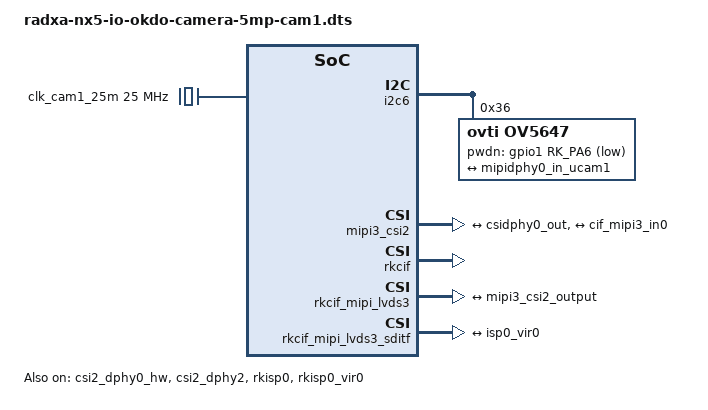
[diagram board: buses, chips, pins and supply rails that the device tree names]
/dts-v1/;
/plugin/;

#include <dt-bindings/gpio/gpio.h>
#include <dt-bindings/pinctrl/rockchip.h>

/ {
	metadata {
		title ="Enable OKDO Camera 5MP on CAM1";
		compatible = "radxa,nx5-io";
		category = "camera";
		exclusive = "csi2_dphy2";
		description = "Enable OKDO Camera 5MP on CAM1.";
	};


	fragment@0 {
		target-path = "/";

		__overlay__ {
			clk_cam1_25m: external-camera-clock-25m {
				compatible = "fixed-clock";
				clock-frequency = <25000000>;
				clock-output-names = "clk_cam1_25m";
				#clock-cells = <0>;
			};
		};
	};

	fragment@1 {
		target = <&i2c6>;

		__overlay__ {
			status = "okay";

			ov5647: ov5647@36 {
				status = "okay";
				compatible = "ovti,ov5647";
				reg = <0x36>;
				clocks = <&clk_cam1_25m>;
				pwdn-gpios = <&gpio1 RK_PA6 GPIO_ACTIVE_LOW>;
				clock-names = "ext_cam_clk";
				rockchip,camera-module-index = <0>;
				rockchip,camera-module-facing = "back";
				rockchip,camera-module-name = "OKDO-5MP";
				rockchip,camera-module-lens-name = "default";

				port {
					ov5647_out1: endpoint {
						remote-endpoint = <&mipidphy0_in_ucam1>;
						data-lanes = <1 2>;
					};
				};
			};
		};
	};

	fragment@2 {
		target = <&csi2_dphy0_hw>;

		__overlay__ {
			status = "okay";
		};
	};

	fragment@3 {
		target = <&csi2_dphy2>;

		__overlay__ {
			status = "okay";

			ports {
				#address-cells = <1>;
				#size-cells = <0>;

				port@0 {
					reg = <0>;
					#address-cells = <1>;
					#size-cells = <0>;

					mipidphy0_in_ucam1: endpoint@2 {
						reg = <2>;
						remote-endpoint = <&ov5647_out1>;
						data-lanes = <1 2>;
					};
				};

				port@1 {
					reg = <1>;
					#address-cells = <1>;
					#size-cells = <0>;

					csidphy0_out: endpoint@0 {
						reg = <0>;
						remote-endpoint = <&mipi3_csi2_input>;
					};
				};
			};
		};
	};

	fragment@4 {
		target = <&mipi3_csi2>;

		__overlay__ {
			status = "okay";

			ports {
				#address-cells = <1>;
				#size-cells = <0>;

				port@0 {
					reg = <0>;
					#address-cells = <1>;
					#size-cells = <0>;

					mipi3_csi2_input: endpoint@1 {
						reg = <1>;
						remote-endpoint = <&csidphy0_out>;
					};
				};

				port@1 {
					reg = <1>;
					#address-cells = <1>;
					#size-cells = <0>;

					mipi3_csi2_output: endpoint@0 {
						reg = <0>;
						remote-endpoint = <&cif_mipi3_in0>;
					};
				};
			};
		};
	};

	fragment@5 {
		target = <&rkcif>;

		__overlay__ {
			status = "okay";
		};
	};

	fragment@6 {
		target = <&rkcif_mipi_lvds3>;

		__overlay__ {
			status = "okay";

			port {
				cif_mipi3_in0: endpoint {
					remote-endpoint = <&mipi3_csi2_output>;
				};
			};
		};
	};

	fragment@7 {
		target = <&rkcif_mipi_lvds3_sditf>;

		__overlay__ {
			status = "okay";

			port {
				mipi_lvds3_sditf: endpoint {
					remote-endpoint = <&isp0_vir0>;
				};
			};
		};
	};

	fragment@8 {
		target = <&rkcif_mmu>;

		__overlay__ {
			status = "okay";
		};
	};

	fragment@9 {
		target = <&isp0_mmu>;

		__overlay__ {
			status = "okay";
		};
	};

	fragment@10 {
		target = <&rkisp0>;

		__overlay__ {
			status = "okay";
		};
	};

	fragment@11 {
		target = <&rkisp0_vir0>;

		__overlay__ {
			status = "okay";

			port {
				#address-cells = <1>;
				#size-cells = <0>;

				isp0_vir0: endpoint@0 {
					reg = <0>;
					remote-endpoint = <&mipi_lvds3_sditf>;
				};
			};
		};
	};
};
